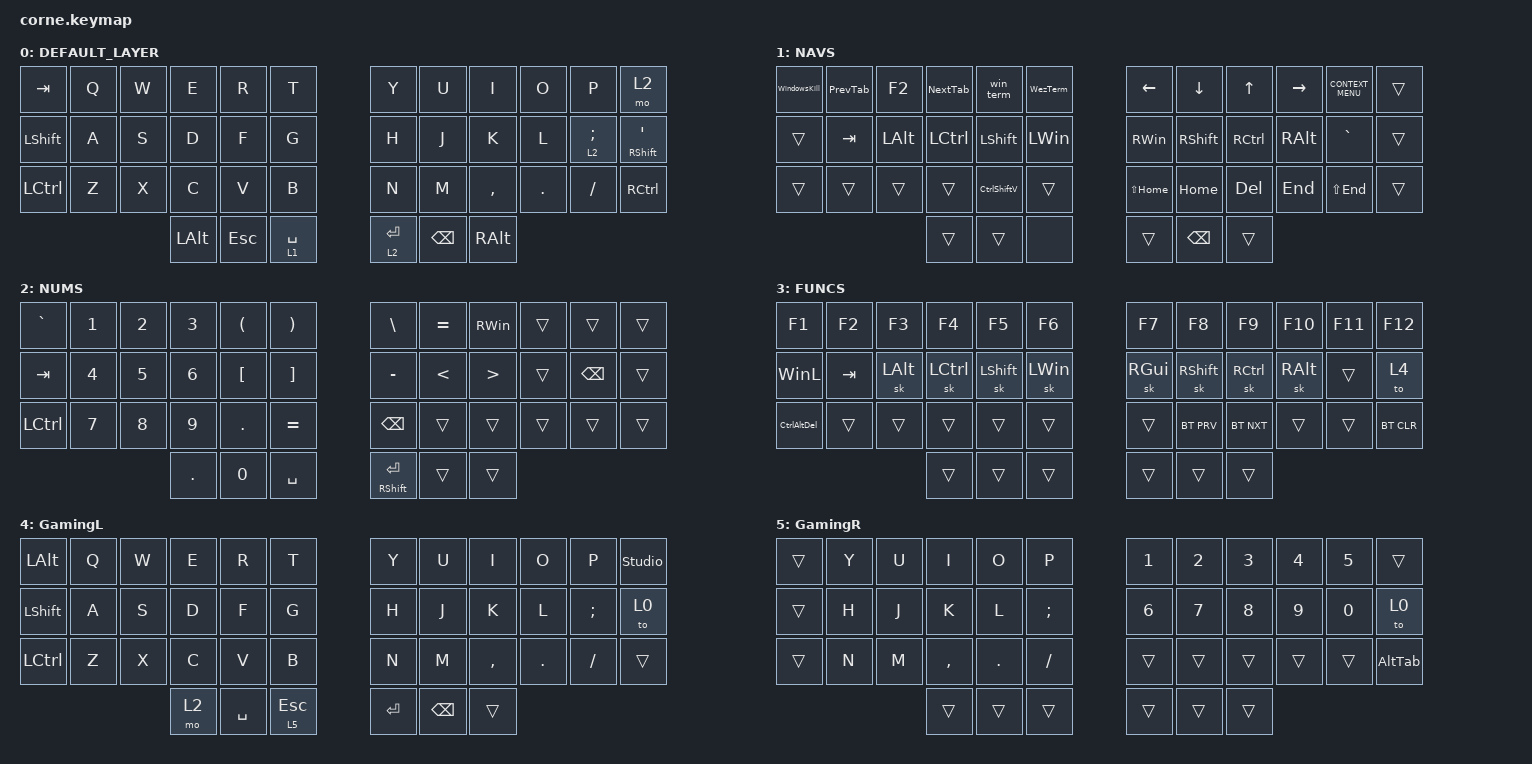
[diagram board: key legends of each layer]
/*
 * Copyright (c) 2020 The ZMK Contributors
 *
 * SPDX-License-Identifier: MIT
 */

#include <behaviors.dtsi>
#include <dt-bindings/zmk/bt.h>
#include <dt-bindings/zmk/keys.h>

// #define Mods 1
// #define Nums 2
// #define Funcs 3
// #define GamingR 4
// #define GamingL 5

&lt {
    tapping-term-ms = <135>;
    quick-tap-ms = <135>;
};

/ {
    macros {
        win_term: win_term {
            compatible = "zmk,behavior-macro";
            #binding-cells = <0>;
            bindings = <&kp LG(R) &kp W &kp T &kp RET>;
            label = "WIN_TERM";
        };

        PrevTab: PrevTab {
            compatible = "zmk,behavior-macro";
            #binding-cells = <0>;
            bindings = <&kp LC(LS(TAB))>;
            label = "PREVTAB";
        };

        NextTab: NextTab {
            compatible = "zmk,behavior-macro";
            #binding-cells = <0>;
            bindings = <&kp LC(TAB)>;
            label = "NEXTTAB";
        };

        CtrlShiftV: CtrlShiftV {
            compatible = "zmk,behavior-macro";
            #binding-cells = <0>;
            bindings = <&kp LC(LS(V))>;
            label = "CTRLSHIFTV";
        };

        CtrlAltDel: CtrlAltDel {
            compatible = "zmk,behavior-macro";
            #binding-cells = <0>;
            bindings = <&kp LC(LA(DEL))>;
            label = "CTRLALTDEL";
        };

        WinL: WinL {
            compatible = "zmk,behavior-macro";
            #binding-cells = <0>;
            bindings = <&kp LG(L)>;
            label = "WINL";
        };

        WezTerm: WezTerm {
            compatible = "zmk,behavior-macro";
            #binding-cells = <0>;
            bindings = <&kp LG(R) &kp W &kp Z &kp T &kp RET>;
            label = "WEZTERM";
        };

        WindowsKill: WindowsKill {
            compatible = "zmk,behavior-macro";
            #binding-cells = <0>;
            bindings = <&kp LA(F4)>;
            label = "WINDOWSKILL";
        };

        AltTab: AltTab {
            compatible = "zmk,behavior-macro";
            #binding-cells = <0>;
            bindings = <&kp LA(TAB)>;
            label = "ALTTAB";
        };
    };

    combos { compatible = "zmk,combos"; };

    keymap {
        compatible = "zmk,keymap";

        DEFAULT_LAYER {
            // -----------------------------------------------------------------------------------------
            // |  ESC |  Q  |  W  |  E  |  R  |  T  |   |  Y  |  U   |  I  |  O  |  P  | BSPC |
            // | L_SHIFT |  A  |  S  |  D  |  F  |  G  |   |  H  |  J   |  K  |  L  |  ;  |  '   |
            // | LCTRL |  Z  |  X  |  C  |  V  |  B  |   |  N  |  M   |  ,  |  .  |  /  | ESC  |
            //         --           | GUI | LWR | SPC |   | ENT | RSE  | ALT |

            bindings = <
&kp TAB         &kp Q  &kp W  &kp E         &kp R    &kp T          &kp Y      &kp U          &kp I          &kp O    &kp P            &mo 2
&kp LEFT_SHIFT  &kp A  &kp S  &kp D         &kp F    &kp G          &kp H      &kp J          &kp K          &kp L    &lt 2 SEMICOLON  &mt RIGHT_SHIFT SQT
&kp LCTRL       &kp Z  &kp X  &kp C         &kp V    &kp B          &kp N      &kp M          &kp COMMA      &kp DOT  &kp SLASH        &kp RCTRL
                              &kp LEFT_ALT  &kp ESC  &lt 1 SPACE    &lt 2 RET  &kp BACKSPACE  &kp RIGHT_ALT
            >;
        };

        NAVS {
            bindings = <
&WindowsKill  &PrevTab  &kp F2        &NextTab   &win_term       &WezTerm        &kp LEFT_ARROW  &kp DOWN_ARROW   &kp UP_ARROW  &kp RIGHT_ARROW  &kp K_CONTEXT_MENU  &trans
&trans        &kp TAB   &kp LEFT_ALT  &kp LCTRL  &kp LEFT_SHIFT  &kp LEFT_WIN    &kp RIGHT_WIN   &kp RIGHT_SHIFT  &kp RCTRL     &kp RIGHT_ALT    &kp GRAVE           &trans
&trans        &trans    &trans        &trans     &CtrlShiftV     &trans          &kp LS(HOME)    &kp HOME         &kp DEL       &kp END          &kp LS(END)         &trans
                                      &trans     &trans          &none           &trans          &kp BACKSPACE    &trans
            >;
        };

        NUMS {
            bindings = <
&kp GRAVE  &kp N1  &kp N2  &kp N3   &kp LEFT_PARENTHESIS  &kp RIGHT_PARENTHESIS    &kp BACKSLASH        &kp EQUAL  &kp RIGHT_WIN  &trans  &trans         &trans
&kp TAB    &kp N4  &kp N5  &kp N6   &kp LEFT_BRACKET      &kp RIGHT_BRACKET        &kp MINUS            &kp LT     &kp GT         &trans  &kp BACKSPACE  &trans
&kp LCTRL  &kp N7  &kp N8  &kp N9   &kp DOT               &kp EQUAL                &kp BACKSPACE        &trans     &trans         &trans  &trans         &trans
                           &kp DOT  &kp N0                &kp SPACE                &mt RIGHT_SHIFT RET  &trans     &trans
            >;
        };

        FUNCS {
            bindings = <
&kp F1       &kp F2   &kp F3        &kp F4     &kp F5          &kp F6          &kp F7         &kp F8           &kp F9      &kp F10        &kp F11  &kp F12
&WinL        &kp TAB  &sk LEFT_ALT  &sk LCTRL  &sk LEFT_SHIFT  &sk LEFT_WIN    &sk RIGHT_GUI  &sk RIGHT_SHIFT  &sk RCTRL   &sk RIGHT_ALT  &trans   &to 4
&CtrlAltDel  &trans   &trans        &trans     &trans          &trans          &trans         &bt BT_PRV       &bt BT_NXT  &trans         &trans   &bt BT_CLR
                                    &trans     &trans          &trans          &trans         &trans           &trans
            >;
        };

        GamingL {
            bindings = <
&kp LEFT_ALT  &kp Q  &kp W  &kp E  &kp R      &kp T        &kp Y    &kp U          &kp I      &kp O    &kp P          &studio_unlock
&kp LSHFT     &kp A  &kp S  &kp D  &kp F      &kp G        &kp H    &kp J          &kp K      &kp L    &kp SEMICOLON  &to 0
&kp LCTRL     &kp Z  &kp X  &kp C  &kp V      &kp B        &kp N    &kp M          &kp COMMA  &kp DOT  &kp SLASH      &trans
                            &mo 2  &kp SPACE  &lt 5 ESC    &kp RET  &kp BACKSPACE  &trans
            >;
        };

        GamingR {
            bindings = <
&trans  &kp Y  &kp U  &kp I      &kp O    &kp P       &kp N1  &kp N2  &kp N3  &kp N4  &kp N5  &trans
&trans  &kp H  &kp J  &kp K      &kp L    &kp SEMI    &kp N6  &kp N7  &kp N8  &kp N9  &kp N0  &to 0
&trans  &kp N  &kp M  &kp COMMA  &kp DOT  &kp FSLH    &trans  &trans  &trans  &trans  &trans  &AltTab
                      &trans     &trans   &trans      &trans  &trans  &trans
            >;
        };
    };

    conditional_layers {
        compatible = "zmk,conditional-layers";

        IntoFunctionKeys {
            if-layers = <1 2>;
            then-layer = <3>;
        };
    };
};
